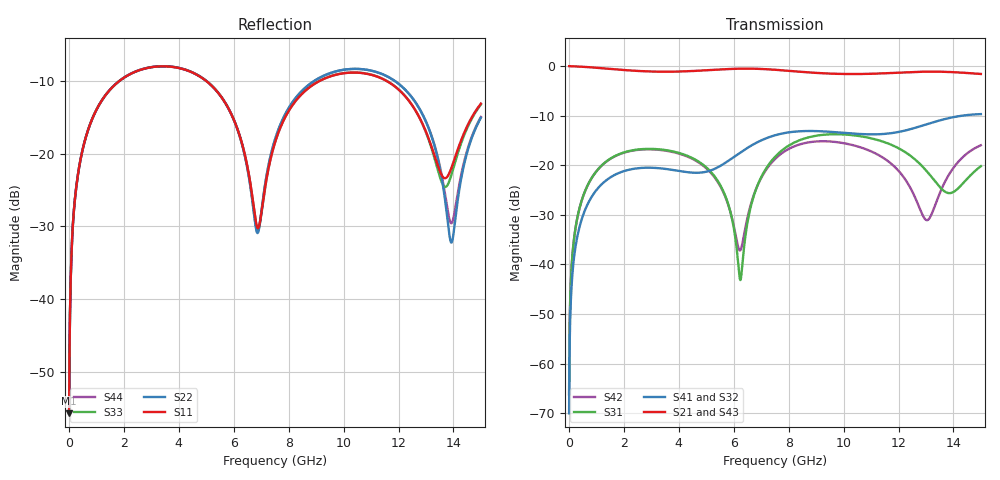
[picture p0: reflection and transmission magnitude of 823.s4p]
! Created with skrf 1.8.0 (http://scikit-rf.org).
# GHz S RI R 50.0
!freq ReS11 ImS11 ReS12 ImS12 ReS13 ImS13
! ReS14 ImS14
! ReS21 ImS21 ReS22 ImS22 ReS23 ImS23
! ReS24 ImS24
! ReS31 ImS31 ReS32 ImS32 ReS33 ImS33
! ReS34 ImS34
! ReS41 ImS41 ReS42 ImS42 ReS43 ImS43
! ReS44 ImS44
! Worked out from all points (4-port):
!   2499 points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, 5 MHz to 15 GHz, reference 50 ohm
!   strongest paths, dB at 5 MHz, 3.476 GHz, 7.19 GHz, 11.1 GHz, 15 GHz:
!     S21: 0.0, -1.1, -0.6, -1.5, -1.6
!     S43: 0.0, -1.1, -0.6, -1.5, -1.6
!     S41: -70.0, -20.7, -14.5, -13.8, -9.7
!     S32: -70.0, -20.7, -14.5, -13.8, -9.7
!     S31: -66.2, -16.9, -20.5, -14.7, -20.2
!     S42: -66.2, -17.0, -20.8, -17.4, -16.0
!   lowest |S11| = -55.7 dB at 5 MHz (marker M1), VSWR 1.00, Z = 50.1 + j0.1 ohm
!   |S11| at or under -10 dB: start of sweep to 1.843 GHz; 4.991 GHz to 9.136 GHz (4.146 GHz wide, 58.7 % of centre); 11.55 GHz to end of sweep
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0.005  0.00131 0.001  0.9987 -0.00255  6.38e-05 0.000487  -6.21e-05 -0.00031
       0.9987 -0.00255  0.00131 0.001  -6.21e-05 -0.00031  6.37e-05 0.000487
       6.38e-05 0.000487  -6.21e-05 -0.00031  0.00131 0.001  0.9987 -0.00255
       -6.21e-05 -0.00031  6.37e-05 0.000487  0.9987 -0.00255  0.00131 0.001
0.3626511  0.0205 0.0766  0.9719 -0.1843  0.00904 0.0338  -0.00751 -0.0214
           0.9719 -0.1843  0.0205 0.0766  -0.0075 -0.0214  0.00887 0.0339
           0.00904 0.0338  -0.0075 -0.0214  0.0205 0.0766  0.9719 -0.1843
           -0.00751 -0.0214  0.00887 0.0339  0.9719 -0.1843  0.0205 0.0766
1.875782  0.2597 0.1863  0.5733 -0.7178  0.1176 0.0583  -0.0844 -0.0101
          0.5733 -0.7178  0.2606 0.1857  -0.0843 -0.0101  0.1152 0.0612
          0.1176 0.0583  -0.0843 -0.0101  0.2598 0.1863  0.5732 -0.7179
          -0.0844 -0.0101  0.1152 0.0612  0.5732 -0.7179  0.2606 0.1857
6.834098  0.0305 -0.0101  -0.9371 -0.0695  0.00982 0.0588  -0.00771 0.1691
          -0.9371 -0.0695  0.0282 -0.00751  -0.00895 0.1691  -0.00632 0.0594
          0.00982 0.0588  -0.00895 0.1691  0.03 -0.0105  -0.9371 -0.0694
          -0.00771 0.1691  -0.00632 0.0594  -0.9371 -0.0694  0.0288 -0.0079
10.94831  0.3444 -0.0618  0.1134 0.8285  0.1211 -0.1446  0.1849 -0.0891
          0.1134 0.8285  0.3614 -0.0936  0.185 -0.0862  0.1308 -0.0508
          0.1211 -0.1446  0.185 -0.0862  0.345 -0.0651  0.1139 0.8281
          0.1849 -0.0891  0.1308 -0.0508  0.1139 0.8281  0.3622 -0.0914
13.9183  0.0712 0.0342  0.8686 0.0634  -0.0359 0.0385  0.0106 -0.3024
         0.8686 0.0634  0.0244 -0.00262  0.0164 -0.3027  0.061 0.0626
         -0.0359 0.0385  0.0164 -0.3027  0.0621 0.0337  0.8688 0.0622
         0.0106 -0.3024  0.061 0.0626  0.8688 0.0622  0.0331 -0.00287
15  0.1682 0.1424  0.7577 -0.3469  0.0752 0.0628  -0.1668 -0.2827
    0.7577 -0.3469  0.1093 0.1383  -0.1621 -0.2863  0.1511 0.0505
    0.0752 0.0628  -0.1621 -0.2863  0.1599 0.1476  0.757 -0.3486
    -0.1668 -0.2827  0.1511 0.0505  0.757 -0.3486  0.1184 0.1337
